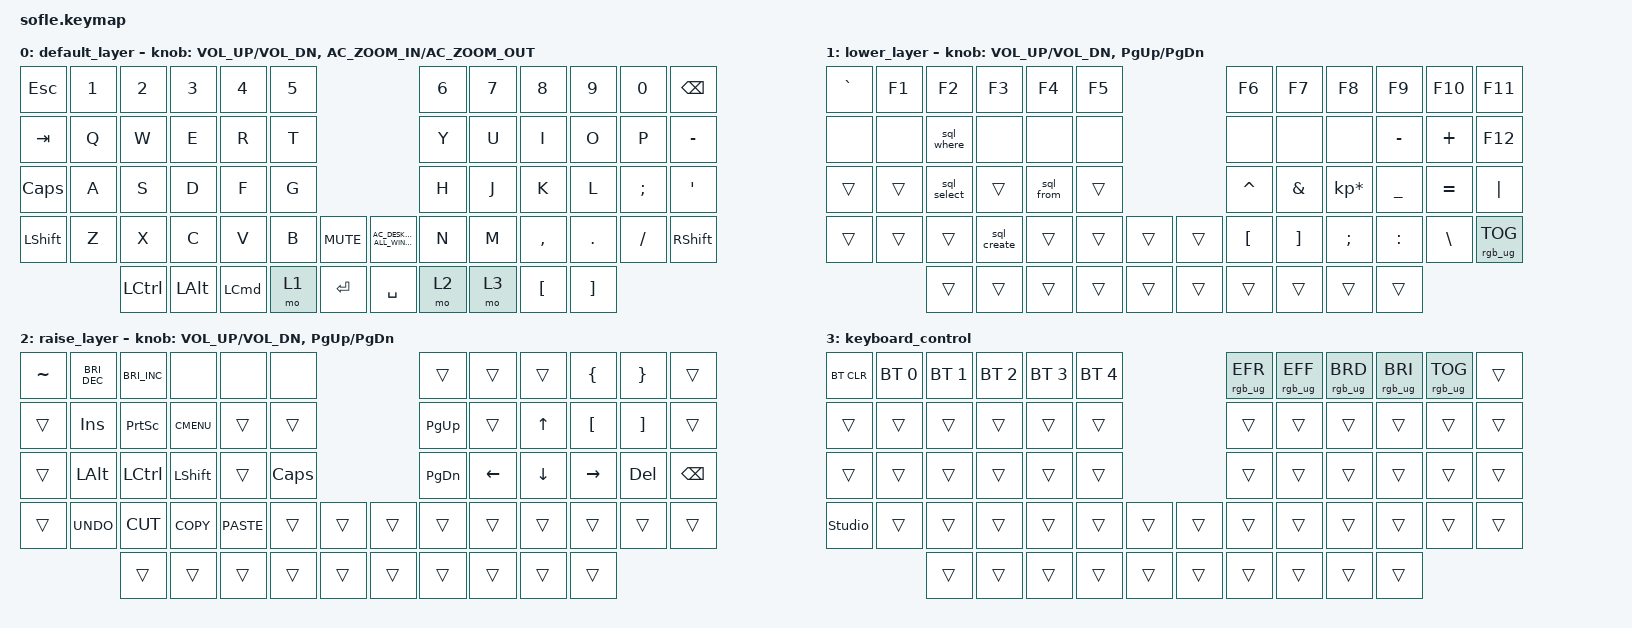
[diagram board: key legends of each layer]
/*
 * Copyright (c) 2020 The ZMK Contributors
 *
 * SPDX-License-Identifier: MIT
 */

#include <behaviors.dtsi>
#include <dt-bindings/zmk/bt.h>
#include <dt-bindings/zmk/keys.h>
#include <dt-bindings/zmk/rgb.h>

&led_strip { chain-length = <35>; };

&left_encoder { resolution = <2>; };

/ {
    macros {
        sql_select: select {
            compatible = "zmk,behavior-macro";
            #binding-cells = <0>;
            bindings = <&kp LS(S) &kp LS(E) &kp LS(L) &kp LS(E) &kp LS(C) &kp LS(T) &kp RETURN &kp TAB>;
            label = "SELECT";
        };

        sql_create: sql_create {
            compatible = "zmk,behavior-macro";
            #binding-cells = <0>;
            bindings = <&none &kp LS(C) &kp LS(R) &kp LS(E) &kp LS(A) &kp LS(T) &kp LS(E) &kp SPACE &kp LS(O) &kp LS(R) &kp SPACE &kp LS(R) &kp LS(E) &kp LS(P) &kp LS(L) &kp LS(A) &kp LS(C) &kp LS(E) &kp SPACE &kp LS(T) &kp LS(A) &kp LS(B) &kp LS(L) &kp LS(E) &kp SPACE &kp GRAVE &kp GRAVE &kp SPACE &kp LS(A) &kp LS(S) &kp SPACE &kp LPAR &kp RPAR &kp SEMI>;
            label = "SQL_CREATE";
        };

        sql_from: sql_from {
            compatible = "zmk,behavior-macro";
            #binding-cells = <0>;
            bindings = <&none &kp LS(F) &kp LS(R) &kp LS(O) &kp LS(M) &kp SPACE &kp GRAVE &kp GRAVE &kp LEFT>;
            label = "SQL_FROM";
        };

        sql_where: sql_where {
            compatible = "zmk,behavior-macro";
            #binding-cells = <0>;
            bindings = <&none &kp LS(W) &kp LS(H) &kp LS(E) &kp LS(R) &kp LS(E) &kp SPACE &kp N1 &kp EQUAL &kp N1 &kp RET &kp LS(A) &kp LS(N) &kp LS(D) &kp SPACE>;
            label = "SQL_WHERE";
        };
    };

    keymap {
        compatible = "zmk,keymap";

        default_layer {
            // ------------------------------------------------------------------------------------------------------------
            // |  ESC  |  1  |  2  |  3   |  4   |  5   |                   |  6   |  7    |  8    |  9   |   0   | BKSPC |
            // |  TAB  |  Q  |  W  |  E   |  R   |  T   |                   |  Y   |  U    |  I    |  O   |   P   | DEL   |
            // |  CAPS |  A  |  S  |  D   |  F   |  G   |                   |  H   |  J    |  K    |  L   |   ;   |   '   |
            // | SHIFT |  Z  |  X  |  C   |  V   |  B   |  MUTE  |  |       |  N   |  M    |  ,    |  .   |   /   | SHIFT |
            //               | CTRL| OPT  | GUI  | LOWER|  ENTER |  | SPACE | RAISE|  L3   | ALT   | GUI  |

            bindings = <
&kp ESC    &kp N1  &kp N2            &kp N3    &kp N4            &kp N5                                                   &kp N6  &kp N7  &kp N8            &kp N9             &kp N0    &kp BSPC
&kp TAB    &kp Q   &kp W             &kp E     &kp R             &kp T                                                    &kp Y   &kp U   &kp I             &kp O              &kp P     &kp MINUS
&kp CAPS   &kp A   &kp S             &kp D     &kp F             &kp G                                                    &kp H   &kp J   &kp K             &kp L              &kp SEMI  &kp SQT
&kp LSHFT  &kp Z   &kp X             &kp C     &kp V             &kp B   &kp C_MUTE    &kp C_AC_DESKTOP_SHOW_ALL_WINDOWS  &kp N   &kp M   &kp COMMA         &kp DOT            &kp FSLH  &kp RSHFT
                   &kp LEFT_CONTROL  &kp LALT  &kp LEFT_COMMAND  &mo 1   &kp RET       &kp SPACE                          &mo 2   &mo 3   &kp LEFT_BRACKET  &kp RIGHT_BRACKET
            >;

            sensor-bindings =
                <&inc_dec_kp C_VOL_UP C_VOL_DN>,
                <&inc_dec_kp C_AC_ZOOM_IN C_AC_ZOOM_OUT>;
        };

        lower_layer {
            // TODO: Some binds are waiting for shifted keycode support.
            // ------------------------------------------------------------------------------------------------------------
            // |  `    |  F1 |  F2 |  F3  |  F4  |  F5  |                   |  F6  |  F7   |  F8   |  F9  |  F10  |  F11  |
            // |       |     |     |      |      |      |                   |      |       |       |   -  |    +  |  F12  |
            // |       |  !  |  @  |  #   |  $   |  %   |                   |  ^   |  &    |  *    |  _   |   =   |   |   |
            // |       |  =  |  -  |  +   |  {   |  }   |        |  |       |  [   |  ]    |  ;    |  :   |   \   |RGB TOG|
            //               |     |      |      |      |        |  |       |      |       |       |      |

            bindings = <
&kp GRAVE  &kp F1  &kp F2       &kp F3       &kp F4     &kp F5                    &kp F6     &kp F7    &kp F8           &kp F9          &kp F10    &kp F11
&none      &none   &sql_where   &none        &none      &none                     &none      &none     &none            &kp MINUS       &kp PLUS   &kp F12
&trans     &trans  &sql_select  &trans       &sql_from  &trans                    &kp CARET  &kp AMPS  &kp KP_MULTIPLY  &kp UNDERSCORE  &kp EQUAL  &kp PIPE
&trans     &trans  &trans       &sql_create  &trans     &trans  &trans    &trans  &kp LBKT   &kp RBKT  &kp SEMI         &kp COLON       &kp BSLH   &rgb_ug RGB_TOG
                   &trans       &trans       &trans     &trans  &trans    &trans  &trans     &trans    &trans           &trans
            >;

            sensor-bindings = <&inc_dec_kp C_VOL_UP C_VOL_DN &inc_dec_kp PG_UP PG_DN>;
        };

        raise_layer {
            // ------------------------------------------------------------------------------------------------------------
            // |  ~  | BRT- | BRT+ |       |       |      |                |      |      |       |   {  |   }   |       |
            // |     | INS  | PSCR | GUI   |       |      |                | PGUP |      |   ^   |   [  |   ]   |       |
            // |     | ALT  | CTRL | SHIFT |       | CAPS |                | PGDN |   <- |   v   |  ->  |  DEL  | BKSPC |
            // |     | UNDO | CUT  | COPY  | PASTE |      |      |  |      |      |      |       |      |       |       |
            //              |      |       |       |      |      |  |      |      |      |       |      |

            bindings = <
&kp TILDE  &kp C_BRIGHTNESS_DEC  &kp C_BRIGHTNESS_INC  &none        &none        &none                       &trans     &trans    &trans    &kp LEFT_BRACE    &kp RIGHT_BRACE    &trans
&trans     &kp INS               &kp PSCRN             &kp K_CMENU  &trans       &trans                      &kp PG_UP  &trans    &kp UP    &kp LEFT_BRACKET  &kp RIGHT_BRACKET  &trans
&trans     &kp LALT              &kp LCTRL             &kp LSHFT    &trans       &kp CLCK                    &kp PG_DN  &kp LEFT  &kp DOWN  &kp RIGHT         &kp DEL            &kp BSPC
&trans     &kp K_UNDO            &kp K_CUT             &kp K_COPY   &kp K_PASTE  &trans    &trans    &trans  &trans     &trans    &trans    &trans            &trans             &trans
                                 &trans                &trans       &trans       &trans    &trans    &trans  &trans     &trans    &trans    &trans
            >;

            sensor-bindings = <&inc_dec_kp C_VOL_UP C_VOL_DN &inc_dec_kp PG_UP PG_DN>;
        };

        keyboard_control {
            bindings = <
&bt BT_CLR  &bt BT_SEL 0  &bt BT_SEL 1  &bt BT_SEL 2  &bt BT_SEL 3  &bt BT_SEL 4                    &rgb_ug RGB_EFR  &rgb_ug RGB_EFF  &rgb_ug RGB_BRD  &rgb_ug RGB_BRI  &rgb_ug RGB_TOG  &trans
&trans      &trans        &trans        &trans        &trans        &trans                          &trans           &trans           &trans           &trans           &trans           &trans
&trans      &trans        &trans        &trans        &trans        &trans                          &trans           &trans           &trans           &trans           &trans           &trans
&studio_unlock      &trans        &trans        &trans        &trans        &trans        &trans    &trans  &trans           &trans           &trans           &trans           &trans           &trans
                          &trans        &trans        &trans        &trans        &trans    &trans  &trans           &trans           &trans           &trans
            >;
        };
    };
};
